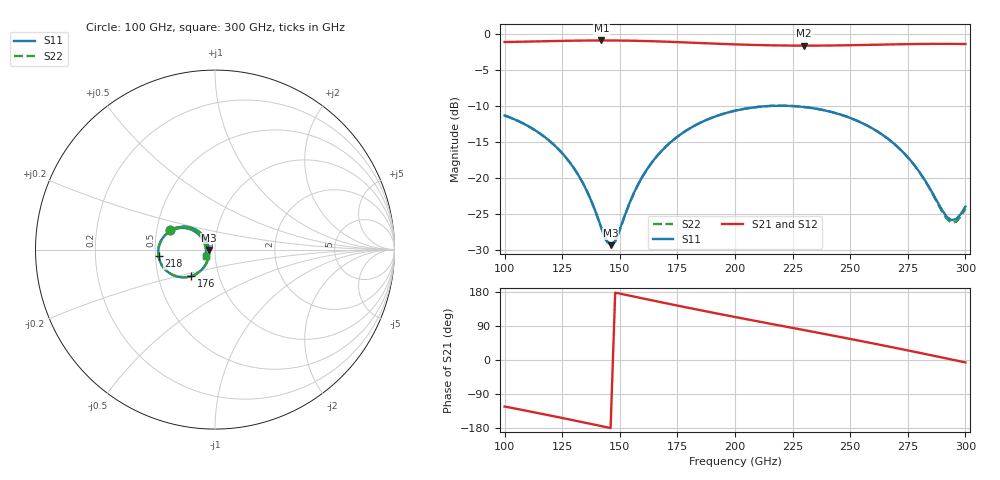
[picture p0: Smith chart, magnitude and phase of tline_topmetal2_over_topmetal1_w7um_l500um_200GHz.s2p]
#  GHZ S DB R 50
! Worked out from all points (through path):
!   101 points, 100 GHz to 300 GHz, reference 50 ohm
!   highest |S21| = -0.93 dB at 142 GHz (marker M1); lowest = -1.7 dB at 230 GHz (marker M2)
!   group delay of S21, straight-line fit = 3.36 ps
!   lowest |S11| = -29.3 dB at 146 GHz (marker M3), VSWR 1.07, Z = 46.7 - j0.165 ohm
!   |S11| at or under -10 dB: start of sweep to 216.5 GHz; 222.9 GHz to end of sweep
!   |S22| runs from -29.5 to -10.0 dB; largest |S21 - S12| = 1e-14
!   S11 on the Smith chart (normalised r, x): 100 GHz: 0.59, +0.14; 176 GHz: 0.74, -0.23; 218 GHz: 0.52, -0.04; 300 GHz: 0.90, -0.06
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100  -11.34 156.8  -1.15 -122.8  -1.15 -122.8  -11.34 156.8
120  -15.00 137.3  -1.02 -146.8  -1.02 -146.8  -14.99 137.1
128  -17.72 131.8  -0.98 -156.8  -0.98 -156.8  -17.72 131.6
134  -20.71 131.0  -0.95 -164.3  -0.95 -164.3  -20.72 130.7
142  -26.90 148.6  -0.93 -174.5  -0.93 -174.5  -26.97 148.0
144  -28.53 162.9  -0.94 -177.0  -0.94 -177.0  -28.64 162.4
146  -29.31 -177.0  -0.94 -179.6  -0.94 -179.6  -29.45 -177.3
148  -28.69 -156.6  -0.94 177.8  -0.94 177.8  -28.82 -156.4
158  -20.85 -122.5  -0.99 165.0  -0.99 165.0  -20.88 -122.2
168  -16.29 -125.4  -1.08 152.3  -1.08 152.3  -16.30 -125.2
176  -14.04 -131.9  -1.18 142.4  -1.18 142.4  -14.05 -131.8
188  -11.90 -143.4  -1.33 127.7  -1.33 127.7  -11.90 -143.4
200  -10.67 -155.5  -1.48 113.5  -1.48 113.5  -10.67 -155.5
218  -9.99 -173.6  -1.62 92.7  -1.62 92.7  -9.98 -173.6
230  -10.16 174.5  -1.65 78.9  -1.65 78.9  -10.16 174.4
234  -10.33 170.6  -1.65 74.3  -1.65 74.3  -10.33 170.5
250  -11.68 155.3  -1.59 55.6  -1.59 55.6  -11.67 155.1
268  -14.97 140.7  -1.48 33.9  -1.48 33.9  -14.98 140.2
280  -19.14 137.8  -1.42 19.0  -1.42 19.0  -19.18 136.9
292  -25.40 167.6  -1.41 3.9  -1.41 3.9  -25.69 166.5
296  -25.69 -166.9  -1.41 -1.2  -1.41 -1.2  -26.06 -166.9
300  -23.96 -146.5  -1.43 -6.3  -1.43 -6.3  -24.23 -145.6
